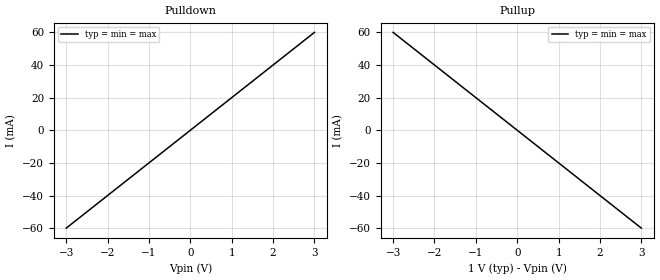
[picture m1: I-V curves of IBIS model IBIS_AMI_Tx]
|Copyright 2009 Signal Integrity Software, Inc.
|  Signal Integrity Software, Inc. (SiSoft)
[IBIS Ver] 7.2
|[IBIS Ver] 8.0
[Disclaimer]
Permission to use, copy, modify, and distribute this software and
associated documentation for educational, research and commercial
purposes, without fee and without a signed licensing agreement, is hereby
granted, provided that the above copyright notice, this paragraph and
the following three paragraphs appear in all copies, modifications, and
distributions.
This is part of a sample IBIS Algorithmic Modeling Interface (AMI) model.
This code has been provided by SiSoft to help demonstrate and drive
adoption of the IBIS AMI modeling standard.  For more information
on this and other IBIS AMI models, contact Signal Integrity Software,
6 Clock Tower Place, Maynard, MA 01754, (978) 461-0449 or email
ibis-ami@sisoft.com.
THIS MATERIAL IS PROVIDED FOR THE RECIPIENT'S USE AT THE RECIPIENT's OWN RISK.
IN NO EVENT SHALL SISOFT BE LIABLE TO ANY PARTY FOR FOR ANY DIRECT,
INDIRECT, INCIDENTAL,SPECIAL OR CONSEQUENTIAL DAMAGES, OR ANY OTHER DAMAGES
WHATSOEVER (INCLUDING, WITHOUT LIMITATION, DAMAGES FOR LOSS OF BUSINESS PROFITS,
BUSINESS INTERRUPTION, LOSS OF BUSINESS INFORMATION, OR OTHER PECUNIARY LOSS)
ARISING OUT OF THE USE OR INABILITY TO USE THIS LICENSED MATERIAL, WHETHER
OR NOT THE POSSIBILITY OR CAUSE OF SUCH DAMAGES WAS KNOWN TO SISOFT.
SISOFT SPECIFICALLY DISCLAIMS ANY WARRANTIES, INCLUDING, BUT NOT
LIMITED TO, THE IMPLIED WARRANTIES OF MERCHANTABILITY AND FITNESS FOR A
PARTICULAR PURPOSE. THIS SOFTWARE AND ACCOMPANYING DOCUMENTATION, IF
ANY, PROVIDED HEREUNDER IS PROVIDED "AS IS". SISOFT HAS NO OBLIGATION
TO PROVIDE MAINTENANCE, SUPPORT, UPDATES, ENHANCEMENTS, OR
MODIFICATIONS.
[File Name]  sisoft_tx.ibs
[File Rev]   1.0
[Date]   8/25/2009
[Source]   Developed by: Signal Integrity Software, Inc.
6 Clock Tower Place, Suite 250 Maynard, MA 01754
[Notes]
Rev 1.0
- 8/25/2009 Inital Release
Rev 1.1
- Dec. 12, 2023 - modified by Michael Mirmak, Intel Corp.
  to illustrate deployment of [AMI Test Configuration]
  under IBIS 8.0
[Copyright]   Copyright 2009, Signal Integrity Software, Inc.
[Component] SiSoft_Tx
[Manufacturer] SiSoft
[Package]
R_pkg 0.001m   NA   NA
L_pkg 0.001nH  NA   NA
C_pkg 0.001pF  NA   NA
[Pin]   signal_name   model_name   R_pin L_pin  C_pin
1p   SiSoft_AMI_Tx   IBIS_AMI_Tx
1n   SiSoft_AMI_Tx_L   IBIS_AMI_Tx
[Diff_Pin] inv_pin vdiff tdelay_typ tdelay_min tdelay_max
1p   1n   0.1V  NA   NA   NA
| Models and submodels in the file (1): IBIS_AMI_Tx (Output)
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[Model] IBIS_AMI_Tx
Model_type Output
C_comp 0.5p 0.45p 0.55p
Cref = 0
Vref = 0.5
Rref = 50
Vmeas = 0.5
[Temperature_Range] 25 100 0
[Voltage Range] 1.0 0.9 1.1
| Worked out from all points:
|   slope of the pulldown table from 0 to 0.15 V, typ, clamps not added: 50 ohm
|   slope of the pullup table from 0 to 0.15 V, typ, clamps not added: 50 ohm
[Pulldown]
-3V       -60mA      -60mA      -60mA
0V        0A         0A         0A
3V        60mA       60mA       60mA
[Pullup]
-3V       60mA       60mA       60mA
0V        0A         0A         0A
3V        -60mA      -60mA      -60mA
[GND Clamp]
-3V       0A         0A         0A
0V        0A         0A         0A
3V        0A         0A         0A
[Power Clamp]
-3V       0A         0A         0A
0V        0A         0A         0A
3V        0A         0A         0A
[Ramp]
|dV/dt_r .45/50p .42/55p .48/45p
|dV/dt_f .45/50p .42/55p .48/45p
| Original edited to match I-V data per ibischk7_64 -caution output
dV/dt_r .3/33.33p .27/35.357p .33/30.9375p
dV/dt_f .3/33.33p .27/35.357p .33/30.9375p
[Algorithmic Model]
Executable Windows_VisualStudio_64 IBIS_AMI_Tx_64.dll IBIS_AMI_Tx.ami
Executable Windows_VisualStudio_32 IBIS_AMI_Tx.dll IBIS_AMI_Tx.ami
Executable linux_gcc3.2.3_32 libIBIS_AMI_Tx.so IBIS_AMI_Tx.ami
| The Executable_index value below identifies the data for AMI Test
| Configuration as having been collected using the libtx_getwave.so
| executable.
|[AMI Test Configuration]  Typ_corner_statistical
|Type Statistical
|Direction Tx
|Input_IR_file  four_tap_input_IR.txt
|AMI_input_parameters_file  four_tap_tx_params_typ_stat.txt
|Golden_IR_file  four_tap_output_IR_typ_stat.txt
|AMI_output_parameters_file  four_tap_output_params_typ_stat.txt
|Executable_index 2
| The Executable_index value below identifies the data for AMI Test
| Configuration as having been collected using the tx_getwave.dll
| executable.
|[AMI Test Configuration]  Typ_corner_time_domain
|Type Time_domain
|Direction Tx
|Input_IR_file  four_tap_input_IR.txt
|Input_waveform_file  four_tap_input_bits.txt
|AMI_input_parameters_file  four_tap_tx_params_typ_TD.txt
|Golden_IR_file  four_tap_output_IR_typ.txt
|Golden_waveform_file  four_tap_output_wave_typ_TD.txt
|AMI_output_parameters_file  four_tap_output_params_typ_TD.txt
|Executable_index 2
[End Algorithmic Model]
